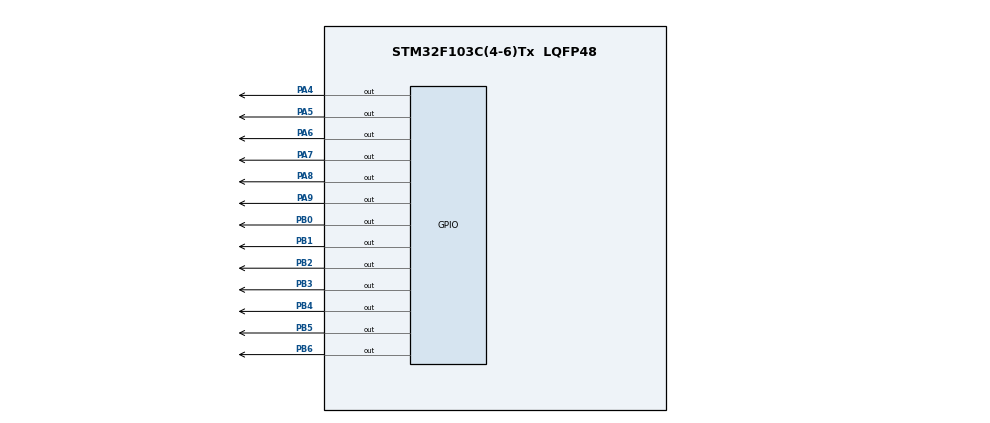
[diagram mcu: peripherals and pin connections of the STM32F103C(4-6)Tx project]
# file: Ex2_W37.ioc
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Mcu.Family=STM32F1
PD1-OSC_OUT.Mode=HSE-External-Oscillator
PD0-OSC_IN.Signal=RCC_OSC_IN
VP_SYS_VS_ND.Mode=No_Debug
ProjectManager.StackSize=0x400
PD1-OSC_OUT.Signal=RCC_OSC_OUT
ProjectManager.TargetToolchain=STM32CubeIDE
PA9.Signal=GPIO_Output
PB6.Signal=GPIO_Output
PD0-OSC_IN.Mode=HSE-External-Oscillator
PA5.Signal=GPIO_Output
PB2.Signal=GPIO_Output
board=custom
RCC.APB2Freq_Value=8000000
VP_TIM2_VS_ClockSourceINT.Mode=Internal
NVIC.TIM2_IRQn=true\:0\:0\:false\:false\:true\:true\:true
PA8.Signal=GPIO_Output
TIM2.Period=9
Mcu.Name=STM32F103C(4-6)Tx
PB3.Signal=GPIO_Output
PA4.Signal=GPIO_Output
Mcu.Package=LQFP48
PB5.Signal=GPIO_Output
TIM2.Prescaler=7999
PA6.Signal=GPIO_Output
PB1.Signal=GPIO_Output
ProjectManager.HeapSize=0x200
NVIC.PriorityGroup=NVIC_PRIORITYGROUP_4
RCC.APB1Freq_Value=8000000
PB0.Signal=GPIO_Output
PB4.Signal=GPIO_Output
PA7.Signal=GPIO_Output

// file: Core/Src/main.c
/* USER CODE BEGIN Header */
/**
  ******************************************************************************
  * @file           : main.c
  * @brief          : Main program body
  ******************************************************************************
  * @attention
  *
  * <h2><center>&copy; Copyright (c) 2021 STMicroelectronics.
  * All rights reserved.</center></h2>
  *
  * This software component is licensed by ST under BSD 3-Clause license,
  * the "License"; You may not use this file except in compliance with the
  * License. You may obtain a copy of the License at:
  *                        opensource.org/licenses/BSD-3-Clause
  *
  ******************************************************************************
  */
/* USER CODE END Header */
#include "main.h"

/* USER CODE BEGIN PTD */
void display7SEG(int num) //display 7SEG-LED
{
	/*HAL_GPIO_WritePin(GPIOB, GPIO_PIN_0, GPIO_PIN_SET);
	HAL_GPIO_WritePin(GPIOB, GPIO_PIN_1, GPIO_PIN_SET);
	HAL_GPIO_WritePin(GPIOB, GPIO_PIN_2, GPIO_PIN_SET);
	HAL_GPIO_WritePin(GPIOB, GPIO_PIN_3, GPIO_PIN_SET);
	HAL_GPIO_WritePin(GPIOB, GPIO_PIN_4, GPIO_PIN_SET);
	HAL_GPIO_WritePin(GPIOB, GPIO_PIN_5, GPIO_PIN_SET);
	HAL_GPIO_WritePin(GPIOB, GPIO_PIN_6, GPIO_PIN_SET);*/
	switch (num) {
		case 0:
			HAL_GPIO_WritePin(GPIOB, GPIO_PIN_0, GPIO_PIN_RESET);
			HAL_GPIO_WritePin(GPIOB, GPIO_PIN_1, GPIO_PIN_RESET);
			HAL_GPIO_WritePin(GPIOB, GPIO_PIN_2, GPIO_PIN_RESET);
			HAL_GPIO_WritePin(GPIOB, GPIO_PIN_3, GPIO_PIN_RESET);
			HAL_GPIO_WritePin(GPIOB, GPIO_PIN_4, GPIO_PIN_RESET);
			HAL_GPIO_WritePin(GPIOB, GPIO_PIN_5, GPIO_PIN_RESET);
			HAL_GPIO_WritePin(GPIOB, GPIO_PIN_6, GPIO_PIN_SET);
			break;
		case 1:
			HAL_GPIO_WritePin(GPIOB, GPIO_PIN_0, GPIO_PIN_SET);
				HAL_GPIO_WritePin(GPIOB, GPIO_PIN_1, GPIO_PIN_RESET);
				HAL_GPIO_WritePin(GPIOB, GPIO_PIN_2, GPIO_PIN_RESET);
				HAL_GPIO_WritePin(GPIOB, GPIO_PIN_3, GPIO_PIN_SET);
				HAL_GPIO_WritePin(GPIOB, GPIO_PIN_4, GPIO_PIN_SET);
				HAL_GPIO_WritePin(GPIOB, GPIO_PIN_5, GPIO_PIN_SET);
				HAL_GPIO_WritePin(GPIOB, GPIO_PIN_6, GPIO_PIN_SET);
			break;
		case 2:
			HAL_GPIO_WritePin(GPIOB, GPIO_PIN_0, GPIO_PIN_RESET);
				HAL_GPIO_WritePin(GPIOB, GPIO_PIN_1, GPIO_PIN_RESET);
				HAL_GPIO_WritePin(GPIOB, GPIO_PIN_2, GPIO_PIN_SET);
				HAL_GPIO_WritePin(GPIOB, GPIO_PIN_3, GPIO_PIN_RESET);
				HAL_GPIO_WritePin(GPIOB, GPIO_PIN_4, GPIO_PIN_RESET);
				HAL_GPIO_WritePin(GPIOB, GPIO_PIN_5, GPIO_PIN_SET);
				HAL_GPIO_WritePin(GPIOB, GPIO_PIN_6, GPIO_PIN_RESET);
			break;
		case 3:
			HAL_GPIO_WritePin(GPIOB, GPIO_PIN_0, GPIO_PIN_RESET);
				HAL_GPIO_WritePin(GPIOB, GPIO_PIN_1, GPIO_PIN_RESET);
				HAL_GPIO_WritePin(GPIOB, GPIO_PIN_2, GPIO_PIN_RESET);
				HAL_GPIO_WritePin(GPIOB, GPIO_PIN_3, GPIO_PIN_RESET);
				HAL_GPIO_WritePin(GPIOB, GPIO_PIN_4, GPIO_PIN_SET);
				HAL_GPIO_WritePin(GPIOB, GPIO_PIN_5, GPIO_PIN_SET);
				HAL_GPIO_WritePin(GPIOB, GPIO_PIN_6, GPIO_PIN_RESET);
			break;
		case 4:
			HAL_GPIO_WritePin(GPIOB, GPIO_PIN_0, GPIO_PIN_SET);
				HAL_GPIO_WritePin(GPIOB, GPIO_PIN_1, GPIO_PIN_RESET);
				HAL_GPIO_WritePin(GPIOB, GPIO_PIN_2, GPIO_PIN_RESET);
				HAL_GPIO_WritePin(GPIOB, GPIO_PIN_3, GPIO_PIN_SET);
				HAL_GPIO_WritePin(GPIOB, GPIO_PIN_4, GPIO_PIN_SET);
				HAL_GPIO_WritePin(GPIOB, GPIO_PIN_5, GPIO_PIN_RESET);
				HAL_GPIO_WritePin(GPIOB, GPIO_PIN_6, GPIO_PIN_RESET);
			break;
		case 5:
			HAL_GPIO_WritePin(GPIOB, GPIO_PIN_0, GPIO_PIN_RESET);
				HAL_GPIO_WritePin(GPIOB, GPIO_PIN_1, GPIO_PIN_SET);
				HAL_GPIO_WritePin(GPIOB, GPIO_PIN_2, GPIO_PIN_RESET);
				HAL_GPIO_WritePin(GPIOB, GPIO_PIN_3, GPIO_PIN_RESET);
				HAL_GPIO_WritePin(GPIOB, GPIO_PIN_4, GPIO_PIN_SET);
				HAL_GPIO_WritePin(GPIOB, GPIO_PIN_5, GPIO_PIN_RESET);
				HAL_GPIO_WritePin(GPIOB, GPIO_PIN_6, GPIO_PIN_RESET);
			break;
		case 6:
			HAL_GPIO_WritePin(GPIOB, GPIO_PIN_0, GPIO_PIN_RESET);
				HAL_GPIO_WritePin(GPIOB, GPIO_PIN_1, GPIO_PIN_SET);
				HAL_GPIO_WritePin(GPIOB, GPIO_PIN_2, GPIO_PIN_RESET);
				HAL_GPIO_WritePin(GPIOB, GPIO_PIN_3, GPIO_PIN_RESET);
				HAL_GPIO_WritePin(GPIOB, GPIO_PIN_4, GPIO_PIN_RESET);
				HAL_GPIO_WritePin(GPIOB, GPIO_PIN_5, GPIO_PIN_RESET);
				HAL_GPIO_WritePin(GPIOB, GPIO_PIN_6, GPIO_PIN_RESET);
			break;
		case 7:
			HAL_GPIO_WritePin(GPIOB, GPIO_PIN_0, GPIO_PIN_RESET);
				HAL_GPIO_WritePin(GPIOB, GPIO_PIN_1, GPIO_PIN_RESET);
				HAL_GPIO_WritePin(GPIOB, GPIO_PIN_2, GPIO_PIN_RESET);
				HAL_GPIO_WritePin(GPIOB, GPIO_PIN_3, GPIO_PIN_SET);
				HAL_GPIO_WritePin(GPIOB, GPIO_PIN_4, GPIO_PIN_SET);
				HAL_GPIO_WritePin(GPIOB, GPIO_PIN_5, GPIO_PIN_SET);
				HAL_GPIO_WritePin(GPIOB, GPIO_PIN_6, GPIO_PIN_SET);
			break;
		case 8:
			HAL_GPIO_WritePin(GPIOB, GPIO_PIN_0, GPIO_PIN_RESET);
			HAL_GPIO_WritePin(GPIOB, GPIO_PIN_1, GPIO_PIN_RESET);
			HAL_GPIO_WritePin(GPIOB, GPIO_PIN_2, GPIO_PIN_RESET);
			HAL_GPIO_WritePin(GPIOB, GPIO_PIN_3, GPIO_PIN_RESET);
			HAL_GPIO_WritePin(GPIOB, GPIO_PIN_4, GPIO_PIN_RESET);
			HAL_GPIO_WritePin(GPIOB, GPIO_PIN_5, GPIO_PIN_RESET);
			HAL_GPIO_WritePin(GPIOB, GPIO_PIN_6, GPIO_PIN_RESET);

			break;
		case 9:
			HAL_GPIO_WritePin(GPIOB, GPIO_PIN_0, GPIO_PIN_RESET);
			HAL_GPIO_WritePin(GPIOB, GPIO_PIN_1, GPIO_PIN_RESET);
			HAL_GPIO_WritePin(GPIOB, GPIO_PIN_2, GPIO_PIN_RESET);
			HAL_GPIO_WritePin(GPIOB, GPIO_PIN_3, GPIO_PIN_RESET);
			HAL_GPIO_WritePin(GPIOB, GPIO_PIN_4, GPIO_PIN_SET);
			HAL_GPIO_WritePin(GPIOB, GPIO_PIN_5, GPIO_PIN_RESET);
			HAL_GPIO_WritePin(GPIOB, GPIO_PIN_6, GPIO_PIN_RESET);
			break;
		default:
			HAL_GPIO_WritePin(GPIOB, GPIO_PIN_3, GPIO_PIN_SET);
			break;
		}
}
/* USER CODE END PTD */

/* USER CODE BEGIN PM */
int hour = 15 , minute = 8 , second = 50;
const int MAX_LED = 4;
int index_led = 0;
int led_buffer [4] = {1 , 2 , 3 , 4};
void update7SEG ( int index ) {
switch ( index ) {
case 0:
 // Display the first 7 SEG with led_buffer [0]
	HAL_GPIO_WritePin(GPIOA, GPIO_PIN_6, 0);
	HAL_GPIO_WritePin(GPIOA, GPIO_PIN_7, 1);
	HAL_GPIO_WritePin(GPIOA, GPIO_PIN_8, 1);
	HAL_GPIO_WritePin(GPIOA, GPIO_PIN_9, 1);
	display7SEG(led_buffer[0]);
 break ;
 case 1:
 // Display the second 7 SEG with led_buffer [1]
	 HAL_GPIO_WritePin(GPIOA, GPIO_PIN_6, 1);
	 HAL_GPIO_WritePin(GPIOA, GPIO_PIN_7, 0);
	 HAL_GPIO_WritePin(GPIOA, GPIO_PIN_8, 1);
	 HAL_GPIO_WritePin(GPIOA, GPIO_PIN_9, 1);
	 display7SEG(led_buffer[1]);
 break ;
 case 2:
 // Display the third 7 SEG with led_buffer [2]
	 HAL_GPIO_WritePin(GPIOA, GPIO_PIN_6, 1);
	 HAL_GPIO_WritePin(GPIOA, GPIO_PIN_7, 1);
	 HAL_GPIO_WritePin(GPIOA, GPIO_PIN_8, 0);
	 HAL_GPIO_WritePin(GPIOA, GPIO_PIN_9, 1);
	 display7SEG(led_buffer[2]);
 break ;
 case 3:
 // Display the forth 7 SEG with led_buffer [3]
	 HAL_GPIO_WritePin(GPIOA, GPIO_PIN_6, 1);
	 HAL_GPIO_WritePin(GPIOA, GPIO_PIN_7, 1);
	 HAL_GPIO_WritePin(GPIOA, GPIO_PIN_8, 1);
	 HAL_GPIO_WritePin(GPIOA, GPIO_PIN_9, 0);
	 display7SEG(led_buffer[3]);
 break ;
 default :
 break ;
 }
 }

void updateClockBuffer()
{
	led_buffer[0] = hour/10;
	led_buffer[1] = hour%10;
	led_buffer[2] = minute/10;
	led_buffer[3] = minute%10;
}

/* USER CODE END PM */

TIM_HandleTypeDef htim2;

void SystemClock_Config(void);
static void MX_GPIO_Init(void);
static void MX_TIM2_Init(void);

int main(void)
{

  /* MCU Configuration--------------------------------------------------------*/

  /* Reset of all peripherals, Initializes the Flash interface and the Systick. */
  HAL_Init();

  /* Configure the system clock */
  SystemClock_Config();

  /* Initialize all configured peripherals */
  MX_GPIO_Init();
  MX_TIM2_Init();
  /* USER CODE BEGIN 2 */
  HAL_TIM_Base_Start_IT(&htim2);
  /* USER CODE END 2 */

  /* Infinite loop */
  while (1)
  {
	  second ++;
	  if ( second >= 60) {
	  second = 0;
	  minute ++;
	  }
	   if( minute >= 60) {
	   minute = 0;
	  hour ++;
	   }
	   if( hour >=24) {
	  hour = 0;
	 }
	  updateClockBuffer () ;
	   HAL_Delay (1000) ;

  }
}

void SystemClock_Config(void)
{
  RCC_OscInitTypeDef RCC_OscInitStruct = {0};
  RCC_ClkInitTypeDef RCC_ClkInitStruct = {0};

  /** Initializes the RCC Oscillators according to the specified parameters
  * in the RCC_OscInitTypeDef structure.
  */
  RCC_OscInitStruct.OscillatorType = RCC_OSCILLATORTYPE_HSI;
  RCC_OscInitStruct.HSIState = RCC_HSI_ON;
  RCC_OscInitStruct.HSICalibrationValue = RCC_HSICALIBRATION_DEFAULT;
  RCC_OscInitStruct.PLL.PLLState = RCC_PLL_NONE;
  if (HAL_RCC_OscConfig(&RCC_OscInitStruct) != HAL_OK)
  {
    Error_Handler();
  }
  /** Initializes the CPU, AHB and APB buses clocks
  */
  RCC_ClkInitStruct.ClockType = RCC_CLOCKTYPE_HCLK|RCC_CLOCKTYPE_SYSCLK
                              |RCC_CLOCKTYPE_PCLK1|RCC_CLOCKTYPE_PCLK2;
  RCC_ClkInitStruct.SYSCLKSource = RCC_SYSCLKSOURCE_HSI;
  RCC_ClkInitStruct.AHBCLKDivider = RCC_SYSCLK_DIV1;
  RCC_ClkInitStruct.APB1CLKDivider = RCC_HCLK_DIV1;
  RCC_ClkInitStruct.APB2CLKDivider = RCC_HCLK_DIV1;

  if (HAL_RCC_ClockConfig(&RCC_ClkInitStruct, FLASH_LATENCY_0) != HAL_OK)
  {
    Error_Handler();
  }
}

static void MX_TIM2_Init(void)
{

  TIM_ClockConfigTypeDef sClockSourceConfig = {0};
  TIM_MasterConfigTypeDef sMasterConfig = {0};

  htim2.Instance = TIM2;
  htim2.Init.Prescaler = 7999;
  htim2.Init.CounterMode = TIM_COUNTERMODE_UP;
  htim2.Init.Period = 9;
  htim2.Init.ClockDivision = TIM_CLOCKDIVISION_DIV1;
  htim2.Init.AutoReloadPreload = TIM_AUTORELOAD_PRELOAD_DISABLE;
  if (HAL_TIM_Base_Init(&htim2) != HAL_OK)
  {
    Error_Handler();
  }
  sClockSourceConfig.ClockSource = TIM_CLOCKSOURCE_INTERNAL;
  if (HAL_TIM_ConfigClockSource(&htim2, &sClockSourceConfig) != HAL_OK)
  {
    Error_Handler();
  }
  sMasterConfig.MasterOutputTrigger = TIM_TRGO_RESET;
  sMasterConfig.MasterSlaveMode = TIM_MASTERSLAVEMODE_DISABLE;
  if (HAL_TIMEx_MasterConfigSynchronization(&htim2, &sMasterConfig) != HAL_OK)
  {
    Error_Handler();
  }

}

static void MX_GPIO_Init(void)
{
  GPIO_InitTypeDef GPIO_InitStruct = {0};

  /* GPIO Ports Clock Enable */
  __HAL_RCC_GPIOD_CLK_ENABLE();
  __HAL_RCC_GPIOA_CLK_ENABLE();
  __HAL_RCC_GPIOB_CLK_ENABLE();

  /*Configure GPIO pin Output Level */
  HAL_GPIO_WritePin(GPIOA, GPIO_PIN_4|GPIO_PIN_5|GPIO_PIN_6|GPIO_PIN_7
                          |GPIO_PIN_8|GPIO_PIN_9, GPIO_PIN_RESET);

  /*Configure GPIO pin Output Level */
  HAL_GPIO_WritePin(GPIOB, GPIO_PIN_0|GPIO_PIN_1|GPIO_PIN_2|GPIO_PIN_3
                          |GPIO_PIN_4|GPIO_PIN_5|GPIO_PIN_6, GPIO_PIN_RESET);

  /*Configure GPIO pins : PA4 PA5 PA6 PA7
                           PA8 PA9 */
  GPIO_InitStruct.Pin = GPIO_PIN_4|GPIO_PIN_5|GPIO_PIN_6|GPIO_PIN_7
                          |GPIO_PIN_8|GPIO_PIN_9;
  GPIO_InitStruct.Mode = GPIO_MODE_OUTPUT_PP;
  GPIO_InitStruct.Pull = GPIO_NOPULL;
  GPIO_InitStruct.Speed = GPIO_SPEED_FREQ_LOW;
  HAL_GPIO_Init(GPIOA, &GPIO_InitStruct);

  /*Configure GPIO pins : PB0 PB1 PB2 PB3
                           PB4 PB5 PB6 */
  GPIO_InitStruct.Pin = GPIO_PIN_0|GPIO_PIN_1|GPIO_PIN_2|GPIO_PIN_3
                          |GPIO_PIN_4|GPIO_PIN_5|GPIO_PIN_6;
  GPIO_InitStruct.Mode = GPIO_MODE_OUTPUT_PP;
  GPIO_InitStruct.Pull = GPIO_NOPULL;
  GPIO_InitStruct.Speed = GPIO_SPEED_FREQ_LOW;
  HAL_GPIO_Init(GPIOB, &GPIO_InitStruct);

}

/* USER CODE BEGIN 4 */
int counter = 100;
void HAL_TIM_PeriodElapsedCallback ( TIM_HandleTypeDef * htim )
{
	//do chu ki la 10ms nen ham nay xu li gi sau 10ms
	counter --;
	if( counter <= 0)
	{
		counter = 100;
		HAL_GPIO_TogglePin ( GPIOA, GPIO_PIN_5 ) ;
		HAL_GPIO_TogglePin ( GPIOA, GPIO_PIN_4 ) ;
	}
	if(counter>=75)
	{
		HAL_GPIO_WritePin(GPIOA, GPIO_PIN_6, 0);
		HAL_GPIO_WritePin(GPIOA, GPIO_PIN_7, 1);
		HAL_GPIO_WritePin(GPIOA, GPIO_PIN_8, 1);
		HAL_GPIO_WritePin(GPIOA, GPIO_PIN_9, 1);
		/*
		//Exercise 2
		display7SEG(1);*/
		//Exercise 5
		update7SEG(0);

	}
	else if(counter>=50 && counter<75)
	{
		HAL_GPIO_WritePin(GPIOA, GPIO_PIN_6, 1);
		HAL_GPIO_WritePin(GPIOA, GPIO_PIN_7, 0);
		HAL_GPIO_WritePin(GPIOA, GPIO_PIN_8, 1);
		HAL_GPIO_WritePin(GPIOA, GPIO_PIN_9, 1);
		/*
		//Exercise 2
		display7SEG(2);*/
		//Exercise 5
		update7SEG(1);
	}
	else if(counter>=25 && counter<50)
	{
		HAL_GPIO_WritePin(GPIOA, GPIO_PIN_6, 1);
		HAL_GPIO_WritePin(GPIOA, GPIO_PIN_7, 1);
		HAL_GPIO_WritePin(GPIOA, GPIO_PIN_8, 0);
		HAL_GPIO_WritePin(GPIOA, GPIO_PIN_9, 1);
		/*
		//Exercise 2
		display7SEG(3);*/
		//Exercise 5
		update7SEG(2);
	}
	else
	{
		HAL_GPIO_WritePin(GPIOA, GPIO_PIN_6, 1);
		HAL_GPIO_WritePin(GPIOA, GPIO_PIN_7, 1);
		HAL_GPIO_WritePin(GPIOA, GPIO_PIN_8, 1);
		HAL_GPIO_WritePin(GPIOA, GPIO_PIN_9, 0);
		/*
		//Exercise 2
		display7SEG(4);*/
		//Exercise 5
		update7SEG(3);
	}
}
/* USER CODE END 4 */

void Error_Handler(void)
{
  __disable_irq();
  while (1)
  {
  }
}

/************************ (C) COPYRIGHT STMicroelectronics *****END OF FILE****/
